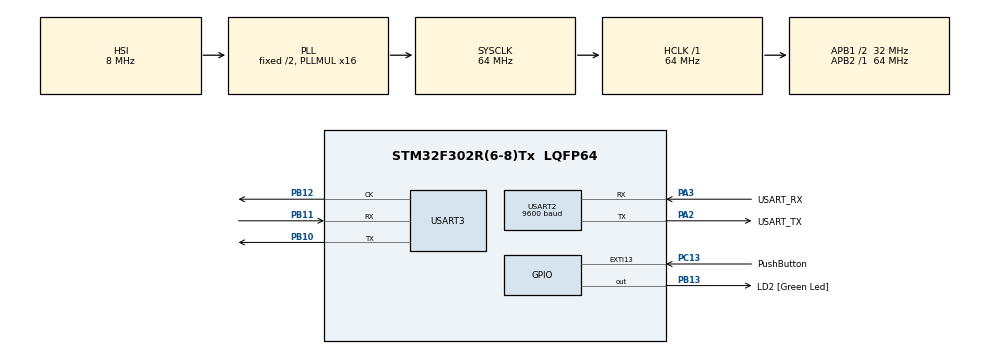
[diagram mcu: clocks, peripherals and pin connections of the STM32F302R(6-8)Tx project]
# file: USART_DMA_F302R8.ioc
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Dma.Request0=USART2_RX
Dma.Request1=USART2_TX
Dma.USART2_RX.0.Direction=DMA_PERIPH_TO_MEMORY
Dma.USART2_RX.0.Instance=DMA1_Channel6
Dma.USART2_RX.0.MemDataAlignment=DMA_MDATAALIGN_BYTE
Dma.USART2_RX.0.MemInc=DMA_MINC_ENABLE
Dma.USART2_RX.0.Mode=DMA_NORMAL
Dma.USART2_RX.0.PeriphDataAlignment=DMA_PDATAALIGN_BYTE
Dma.USART2_RX.0.PeriphInc=DMA_PINC_DISABLE
Dma.USART2_RX.0.Priority=DMA_PRIORITY_LOW
Dma.USART2_TX.1.Direction=DMA_MEMORY_TO_PERIPH
Dma.USART2_TX.1.Instance=DMA1_Channel7
Dma.USART2_TX.1.MemDataAlignment=DMA_MDATAALIGN_BYTE
Dma.USART2_TX.1.MemInc=DMA_MINC_ENABLE
Dma.USART2_TX.1.Mode=DMA_NORMAL
Dma.USART2_TX.1.PeriphDataAlignment=DMA_PDATAALIGN_BYTE
Dma.USART2_TX.1.PeriphInc=DMA_PINC_DISABLE
Dma.USART2_TX.1.Priority=DMA_PRIORITY_LOW
Mcu.Family=STM32F3
Mcu.Name=STM32F302R(6-8)Tx
Mcu.Package=LQFP64
NVIC.DMA1_Channel6_IRQn=true\:0\:0\:false\:false\:true\:true\:true
NVIC.DMA1_Channel7_IRQn=true\:0\:0\:false\:false\:true\:true\:true
NVIC.EXTI15_10_IRQn=true\:0\:0\:false\:false\:true\:true\:true
NVIC.PriorityGroup=NVIC_PRIORITYGROUP_0
PA13.GPIO_Label=TMS
PA13.Signal=SYS_JTMS-SWDIO
PA14.GPIO_Label=TCK
PA14.Signal=SYS_JTCK-SWCLK
PA2.GPIO_Label=USART_TX
PA2.GPIO_Mode=GPIO_MODE_AF_PP
PA2.GPIO_PuPd=GPIO_NOPULL
PA2.GPIO_Speed=GPIO_SPEED_FREQ_LOW
PA2.Mode=Asynchronous
PA2.Signal=USART2_TX
PA3.GPIO_Label=USART_RX
PA3.GPIO_Mode=GPIO_MODE_AF_PP
PA3.GPIO_PuPd=GPIO_NOPULL
PA3.GPIO_Speed=GPIO_SPEED_FREQ_LOW
PA3.Mode=Asynchronous
PA3.Signal=USART2_RX
PB10.Mode=Synchronous
PB10.Signal=USART3_TX
PB11.Mode=Synchronous
PB11.Signal=USART3_RX
PB12.Mode=Synchronous
PB12.Signal=USART3_CK
PB13.GPIO_Label=LD2 [Green Led]
PB13.Signal=GPIO_Output
PB3.GPIO_Label=SWO
PB3.Signal=SYS_JTDO-TRACESWO
PC13.GPIO_Label=PushButton
PC13.GPIO_ModeDefaultEXTI=GPIO_MODE_IT_FALLING
PC13.Signal=GPXTI13
PC14\ -\ OSC32_IN.Signal=RCC_OSC32_IN
PC15\ -\ OSC32_OUT.Signal=RCC_OSC32_OUT
PF0-OSC_IN.Signal=RCC_OSC_IN
PF1-OSC_OUT.Signal=RCC_OSC_OUT
ProjectManager.HeapSize=0x200
ProjectManager.StackSize=0x400
ProjectManager.TargetToolchain=Makefile
RCC.AHBFreq_Value=64000000
RCC.APB1CLKDivider=RCC_HCLK_DIV2
RCC.APB1Freq_Value=32000000
RCC.APB1TimFreq_Value=64000000
RCC.APB2Freq_Value=64000000
RCC.APB2TimFreq_Value=64000000
RCC.CortexFreq_Value=64000000
RCC.HCLKFreq_Value=64000000
RCC.HSE_VALUE=8000000
RCC.HSI_VALUE=8000000
RCC.LSE_VALUE=32768
RCC.PLLM=8
RCC.PLLMUL=RCC_PLL_MUL16
RCC.PLLN=336
RCC.PLLP=RCC_PLLP_DIV4
RCC.PLLQ=7
RCC.RCC_PLLsource_Clock_Source_FROM_HSE=RCC_HSE_PREDIV_DIV2
RCC.SYSCLKFreq_VALUE=64000000
RCC.SYSCLKSourceVirtual=RCC_SYSCLKSOURCE_PLLCLK
RCC.USBFreq_Value=64000000
USART2.BaudRate=9600
USART2.VirtualMode-Asynchronous=VM_ASYNC
USART2.WordLength=WORDLENGTH_8B
USART3.VirtualMode-Synchronous=VM_SYNC
board=NUCLEO-F302R8

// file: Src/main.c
/**
  ******************************************************************************
  * File Name          : main.c
  * Description        : Main program body
  ******************************************************************************
  ** This notice applies to any and all portions of this file
  * that are not between comment pairs USER CODE BEGIN and
  * USER CODE END. Other portions of this file, whether
  * inserted by the user or by software development tools
  * are owned by their respective copyright owners.
  *
  * COPYRIGHT(c) 2020 STMicroelectronics
  *
  * Redistribution and use in source and binary forms, with or without modification,
  * are permitted provided that the following conditions are met:
  *   1. Redistributions of source code must retain the above copyright notice,
  *      this list of conditions and the following disclaimer.
  *   2. Redistributions in binary form must reproduce the above copyright notice,
  *      this list of conditions and the following disclaimer in the documentation
  *      and/or other materials provided with the distribution.
  *   3. Neither the name of STMicroelectronics nor the names of its contributors
  *      may be used to endorse or promote products derived from this software
  *      without specific prior written permission.
  *
  * THIS SOFTWARE IS PROVIDED BY THE COPYRIGHT HOLDERS AND CONTRIBUTORS "AS IS"
  * AND ANY EXPRESS OR IMPLIED WARRANTIES, INCLUDING, BUT NOT LIMITED TO, THE
  * IMPLIED WARRANTIES OF MERCHANTABILITY AND FITNESS FOR A PARTICULAR PURPOSE ARE
  * DISCLAIMED. IN NO EVENT SHALL THE COPYRIGHT HOLDER OR CONTRIBUTORS BE LIABLE
  * FOR ANY DIRECT, INDIRECT, INCIDENTAL, SPECIAL, EXEMPLARY, OR CONSEQUENTIAL
  * DAMAGES (INCLUDING, BUT NOT LIMITED TO, PROCUREMENT OF SUBSTITUTE GOODS OR
  * SERVICES; LOSS OF USE, DATA, OR PROFITS; OR BUSINESS INTERRUPTION) HOWEVER
  * CAUSED AND ON ANY THEORY OF LIABILITY, WHETHER IN CONTRACT, STRICT LIABILITY,
  * OR TORT (INCLUDING NEGLIGENCE OR OTHERWISE) ARISING IN ANY WAY OUT OF THE USE
  * OF THIS SOFTWARE, EVEN IF ADVISED OF THE POSSIBILITY OF SUCH DAMAGE.
  *
  ******************************************************************************
  */
#include "main.h"
#include "stm32f3xx_hal.h"

UART_HandleTypeDef huart2;
USART_HandleTypeDef husart3;
DMA_HandleTypeDef hdma_usart2_rx;
DMA_HandleTypeDef hdma_usart2_tx;

/* USER CODE BEGIN PV */
/* Private variables ---------------------------------------------------------*/

/* USER CODE END PV */

void SystemClock_Config(void);
static void MX_GPIO_Init(void);
static void MX_DMA_Init(void);
static void MX_USART2_UART_Init(void);
static void MX_USART3_Init(void);

/* USER CODE BEGIN PFP */
/* Private function prototypes -----------------------------------------------*/

/* USER CODE END PFP */

/* USER CODE BEGIN 0 */
/*
*    Generated by Code_Generation toolbox of Xcos with scilab-5.5.2
*    Date : 10-Oct-2020
*/
/* ---- Headers ---- */
#include <stdio.h>
#include <string.h> // memcpy
#include "STM32_Config.h"

#include "scicos_block4.h"
#include "USART_DMA_F302R8.h"
/* ---- Variables declaration ---- */
/* Number of auto reload timer rotation computed */
static uint32_t autoReloadTimerLoopVal_S = 1;
/* Remaining number of auto reload timer rotation to do */
static uint32_t remainAutoReloadTimerLoopVal_S = 1;
#define NB_SOLVER_LOOP_FOR_STEP1 1 //Nb of solver loop to do before trigging Step function
static uint32_t autoReloadTimerLoopStep1_S = NB_SOLVER_LOOP_FOR_STEP1; //Step function called from main

/* USER CODE END 0 */

int main(void)
{

  /* USER CODE BEGIN 1 */
/* Data initialization */
//int_T i;
  /* USER CODE END 1 */

  /* MCU Configuration----------------------------------------------------------*/

  /* Reset of all peripherals, Initializes the Flash interface and the Systick. */
  HAL_Init();

  /* Configure the system clock */
  SystemClock_Config();

  /* Initialize all configured peripherals */
  MX_GPIO_Init();
  MX_DMA_Init();
  MX_USART2_UART_Init();
  MX_USART3_Init();

  /* USER CODE BEGIN 2 */
/* Systick configuration and enable SysTickHandler interrupt */
if (SysTick_Config((uint32_t)(SystemCoreClock * 0.5)))
{
   autoReloadTimerLoopVal_S = 1;
   do {
      autoReloadTimerLoopVal_S++;
   } while((uint32_t)(SystemCoreClock * 0.5)/autoReloadTimerLoopVal_S > SysTick_LOAD_RELOAD_Msk);
   SysTick_Config((uint32_t)(SystemCoreClock * 0.5)/autoReloadTimerLoopVal_S);
} //End if
remainAutoReloadTimerLoopVal_S = autoReloadTimerLoopVal_S; //Set nb of loop to do
  /* USER CODE END 2 */

  /* Infinite loop */
  /* USER CODE BEGIN WHILE */

/* Model initialization call */
USART_DMA_F302R8_Initialize();

/* Infinite loop */
/* Real time from systickHandler */
while(1) {
   /*Process tasks every solver time*/
   if(remainAutoReloadTimerLoopVal_S == 0) {
      remainAutoReloadTimerLoopVal_S = autoReloadTimerLoopVal_S;
      autoReloadTimerLoopStep1_S--;
      if (autoReloadTimerLoopStep1_S == 0) {
         autoReloadTimerLoopStep1_S = NB_SOLVER_LOOP_FOR_STEP1;
         USART_DMA_F302R8_Step1();
      }//End if
   } //End if
} //End while
  /* USER CODE END WHILE */

}

/** System Clock Configuration
*/
void SystemClock_Config(void)
{

  RCC_OscInitTypeDef RCC_OscInitStruct;
  RCC_ClkInitTypeDef RCC_ClkInitStruct;

    /**Initializes the CPU, AHB and APB busses clocks
    */
  RCC_OscInitStruct.OscillatorType = RCC_OSCILLATORTYPE_HSI;
  RCC_OscInitStruct.HSIState = RCC_HSI_ON;
  RCC_OscInitStruct.HSICalibrationValue = 16;
  RCC_OscInitStruct.PLL.PLLState = RCC_PLL_ON;
  RCC_OscInitStruct.PLL.PLLSource = RCC_PLLSOURCE_HSI;
  RCC_OscInitStruct.PLL.PLLMUL = RCC_PLL_MUL16;
  if (HAL_RCC_OscConfig(&RCC_OscInitStruct) != HAL_OK)
  {
    _Error_Handler(__FILE__, __LINE__);
  }

    /**Initializes the CPU, AHB and APB busses clocks
    */
  RCC_ClkInitStruct.ClockType = RCC_CLOCKTYPE_HCLK|RCC_CLOCKTYPE_SYSCLK
                              |RCC_CLOCKTYPE_PCLK1|RCC_CLOCKTYPE_PCLK2;
  RCC_ClkInitStruct.SYSCLKSource = RCC_SYSCLKSOURCE_PLLCLK;
  RCC_ClkInitStruct.AHBCLKDivider = RCC_SYSCLK_DIV1;
  RCC_ClkInitStruct.APB1CLKDivider = RCC_HCLK_DIV2;
  RCC_ClkInitStruct.APB2CLKDivider = RCC_HCLK_DIV1;

  if (HAL_RCC_ClockConfig(&RCC_ClkInitStruct, FLASH_LATENCY_2) != HAL_OK)
  {
    _Error_Handler(__FILE__, __LINE__);
  }

    /**Configure the Systick interrupt time
    */
  HAL_SYSTICK_Config(HAL_RCC_GetHCLKFreq()/1000);

    /**Configure the Systick
    */
  HAL_SYSTICK_CLKSourceConfig(SYSTICK_CLKSOURCE_HCLK);

  /* SysTick_IRQn interrupt configuration */
  HAL_NVIC_SetPriority(SysTick_IRQn, 0, 0);
}

/* USART2 init function */
static void MX_USART2_UART_Init(void)
{

  huart2.Instance = USART2;
  huart2.Init.BaudRate = 9600;
  huart2.Init.WordLength = UART_WORDLENGTH_8B;
  huart2.Init.StopBits = UART_STOPBITS_1;
  huart2.Init.Parity = UART_PARITY_NONE;
  huart2.Init.Mode = UART_MODE_TX_RX;
  huart2.Init.HwFlowCtl = UART_HWCONTROL_NONE;
  huart2.Init.OverSampling = UART_OVERSAMPLING_16;
  huart2.Init.OneBitSampling = UART_ONE_BIT_SAMPLE_DISABLE;
  huart2.AdvancedInit.AdvFeatureInit = UART_ADVFEATURE_NO_INIT;
  if (HAL_UART_Init(&huart2) != HAL_OK)
  {
    _Error_Handler(__FILE__, __LINE__);
  }

}

/* USART3 init function */
static void MX_USART3_Init(void)
{

  husart3.Instance = USART3;
  husart3.Init.BaudRate = 38400;
  husart3.Init.WordLength = USART_WORDLENGTH_7B;
  husart3.Init.StopBits = USART_STOPBITS_1;
  husart3.Init.Parity = USART_PARITY_NONE;
  husart3.Init.Mode = USART_MODE_TX_RX;
  husart3.Init.CLKPolarity = USART_POLARITY_LOW;
  husart3.Init.CLKPhase = USART_PHASE_1EDGE;
  husart3.Init.CLKLastBit = USART_LASTBIT_DISABLE;
  if (HAL_USART_Init(&husart3) != HAL_OK)
  {
    _Error_Handler(__FILE__, __LINE__);
  }

}

static void MX_DMA_Init(void)
{
  /* DMA controller clock enable */
  __HAL_RCC_DMA1_CLK_ENABLE();

  /* DMA interrupt init */
  /* DMA1_Channel6_IRQn interrupt configuration */
  HAL_NVIC_SetPriority(DMA1_Channel6_IRQn, 0, 0);
  HAL_NVIC_EnableIRQ(DMA1_Channel6_IRQn);
  /* DMA1_Channel7_IRQn interrupt configuration */
  HAL_NVIC_SetPriority(DMA1_Channel7_IRQn, 0, 0);
  HAL_NVIC_EnableIRQ(DMA1_Channel7_IRQn);

}

/** Configure pins as
        * Analog
        * Input
        * Output
        * EVENT_OUT
        * EXTI
*/
static void MX_GPIO_Init(void)
{

  GPIO_InitTypeDef GPIO_InitStruct;

  /* GPIO Ports Clock Enable */
  __HAL_RCC_GPIOC_CLK_ENABLE();
  __HAL_RCC_GPIOF_CLK_ENABLE();
  __HAL_RCC_GPIOA_CLK_ENABLE();
  __HAL_RCC_GPIOB_CLK_ENABLE();

  /*Configure GPIO pin Output Level */
  HAL_GPIO_WritePin(LD2_GPIO_Port, LD2_Pin, GPIO_PIN_RESET);

  /*Configure GPIO pin : PushButton_Pin */
  GPIO_InitStruct.Pin = PushButton_Pin;
  GPIO_InitStruct.Mode = GPIO_MODE_IT_FALLING;
  GPIO_InitStruct.Pull = GPIO_NOPULL;
  HAL_GPIO_Init(PushButton_GPIO_Port, &GPIO_InitStruct);

  /*Configure GPIO pin : LD2_Pin */
  GPIO_InitStruct.Pin = LD2_Pin;
  GPIO_InitStruct.Mode = GPIO_MODE_OUTPUT_PP;
  GPIO_InitStruct.Pull = GPIO_NOPULL;
  GPIO_InitStruct.Speed = GPIO_SPEED_FREQ_LOW;
  HAL_GPIO_Init(LD2_GPIO_Port, &GPIO_InitStruct);

  /* EXTI interrupt init*/
  HAL_NVIC_SetPriority(EXTI15_10_IRQn, 0, 0);
  HAL_NVIC_EnableIRQ(EXTI15_10_IRQn);

}

/* USER CODE BEGIN 4 */
/****************************************************
SysTick_Handler callback function
This handler is called every tick and schedules tasks
*****************************************************/
void HAL_SYSTICK_Callback(void)
{
   /* For TIME OUT processing */
   HAL_IncTick();
   /* inc time ref */
   sci_time++;
   /* Manage nb of loop before interrupt has to be processed */
   if( remainAutoReloadTimerLoopVal_S) {
      remainAutoReloadTimerLoopVal_S--;
   } //End if
} //End HAL_SYSTICK_Callback
/* USER CODE END 4 */

void _Error_Handler(char * file, int line)
{
  while(1)
  {
  }
}

/************************ (C) COPYRIGHT STMicroelectronics *****END OF FILE****/
